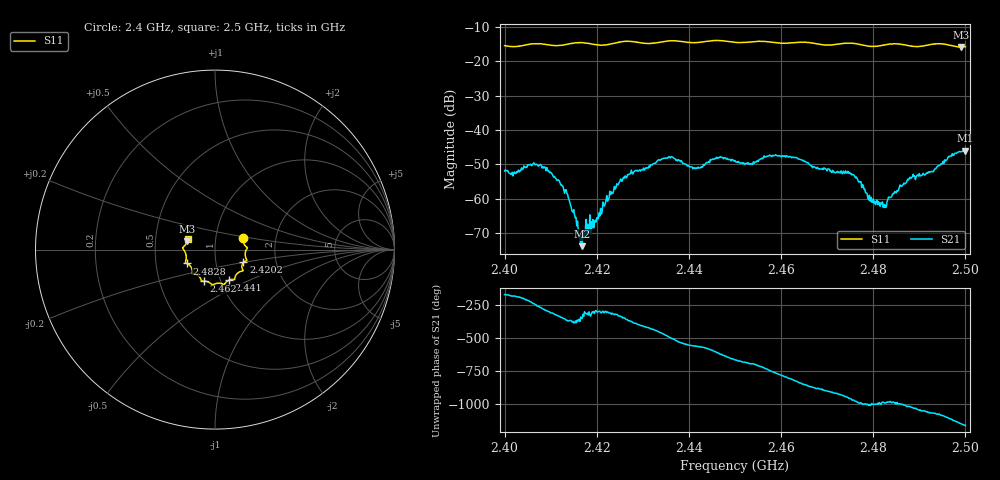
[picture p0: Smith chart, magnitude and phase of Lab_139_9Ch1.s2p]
# Hz S RI R 50
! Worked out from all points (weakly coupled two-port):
!   601 points, 2.4 GHz to 2.5 GHz, reference 50 ohm
!   highest |S21| = -46.02 dB at 2.5 GHz (marker M1); lowest = -73.9 dB at 2.4168 GHz (marker M2)
!   lowest |S11| = -15.8 dB at 2.499 GHz (marker M3), VSWR 1.39, Z = 36.5 + j3.47 ohm
!   |S11| at or under -10 dB: start of sweep to end of sweep
!   S12 and S22 are empty: the file has one direction only
!   S11 on the Smith chart (normalised r, x): 2.4 GHz: 1.36, +0.18; 2.4202 GHz: 1.36, -0.20; 2.441 GHz: 1.10, -0.39; 2.462 GHz: 0.84, -0.30; 2.4828 GHz: 0.72, -0.11; 2.5 GHz: 0.73, +0.09
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2.4e9  0.1574 0.0629  -0.00248 -0.00041  0 0  0 0
2.406667e9  0.1805 0.0107  -0.00123 0.00284  0 0  0 0
2.409667e9  0.1733 -0.00284  0.00127 0.00214  0 0  0 0
2.413667e9  0.1716 -0.0461  0.00114 -0.000207  0 0  0 0
2.416667e9  0.1777 -0.0601  0.000287 3.77e-05  0 0  0 0
2.416833e9  0.1776 -0.0604  0.000199 3.58e-05  0 0  0 0
2.420167e9  0.1583 -0.0709  0.000296 0.000443  0 0  0 0
2.425333e9  0.1556 -0.1146  0.00175 0.000681  0 0  0 0
2.433333e9  0.1124 -0.151  -3.03e-05 -0.00362  0 0  0 0
2.436167e9  0.1096 -0.1666  -0.00323 -0.0025  0 0  0 0
2.441e9  0.0785 -0.1696  -0.00268 0.000902  0 0  0 0
2.4465e9  0.0499 -0.1949  -0.00106 0.00386  0 0  0 0
2.45e9  0.0286 -0.1871  0.002 0.00296  0 0  0 0
2.462e9  -0.0603 -0.1755  0.000243 -0.00407  0 0  0 0
2.466667e9  -0.0779 -0.1682  -0.00257 -0.00153  0 0  0 0
2.475333e9  -0.1266 -0.1334  -0.000873 0.00203  0 0  0 0
2.479333e9  -0.1309 -0.1013  0.000327 0.000855  0 0  0 0
2.482833e9  -0.1576 -0.0773  -1.37e-05 0.000749  0 0  0 0
2.483333e9  -0.1605 -0.0759  -0.000114 0.00105  0 0  0 0
2.488333e9  -0.1601 -0.0456  0.00116 0.00165  0 0  0 0
2.499e9  -0.1548 0.0464  0.00183 -0.00444  0 0  0 0
2.5e9  -0.1519 0.0609  0.000765 -0.00494  0 0  0 0
